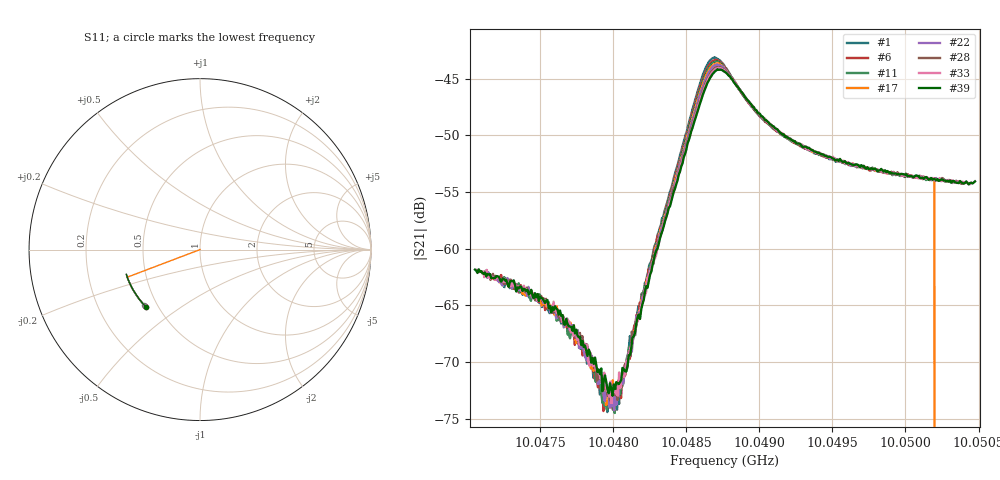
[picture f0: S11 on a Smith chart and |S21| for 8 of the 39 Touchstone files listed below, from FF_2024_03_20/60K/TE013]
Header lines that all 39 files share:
#  HZ  S  RI  R  50.00
! Rohde & Schwarz Vector Network Analyzer
! Rohde-Schwarz,ZNB20-2Port,1311601062101988,3.16
! freq[Hz]  re:S11  im:S11  re:S21  im:S21  re:S12  im:S12  re:S22  im:S22
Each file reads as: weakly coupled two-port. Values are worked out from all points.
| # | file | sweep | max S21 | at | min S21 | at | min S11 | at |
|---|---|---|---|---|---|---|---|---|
| 1 | 160_3_58.0005_58.9726982_40394.016_433.0338485240936_.s2p | 10.04725 GHz to 10.05019 GHz | -43.09 dB | 10.04869 GHz | -74.4 dB | 10.04796 GHz | -6.8 dB | 10.05015 GHz |
| 2 | 161_3_58.0003_58.9736977_40614.535_435.45263624191284_.s2p | 10.04726 GHz to 10.05019 GHz | -43.15 dB | 10.04869 GHz | -75.1 dB | 10.04798 GHz | -6.8 dB | 10.05018 GHz |
| 3 | 162_3_58.0001_58.9745522_40865.566_437.864235162735_.s2p | 10.04725 GHz to 10.0502 GHz | -43.18 dB | 10.0487 GHz | -75.1 dB | 10.04799 GHz | -6.8 dB | 10.05018 GHz |
| 4 | 163_3_58.0_58.9751167_41677.715_445.96759557724_.s2p | 10.04723 GHz to 10.05022 GHz | -43.23 dB | 10.0487 GHz | -74.2 dB | 10.048 GHz | -6.8 dB | 10.05022 GHz |
| 5 | 164_3_58.0003_58.9757538_41929.273_448.38521552085876_.s2p | 10.04723 GHz to 10.05022 GHz | -43.28 dB | 10.04869 GHz | -75.4 dB | 10.04798 GHz | -6.8 dB | 10.05018 GHz |
| 6 | 165_3_58.0004_58.9755745_42180.348_450.797146320343_.s2p | 10.04723 GHz to 10.05024 GHz | -43.32 dB | 10.04871 GHz | -74.3 dB | 10.04793 GHz | -6.8 dB | 10.05022 GHz |
| 7 | 166_3_58.0006_58.97649_42411.07_453.2121276855469_.s2p | 10.04721 GHz to 10.05025 GHz | -43.33 dB | 10.0487 GHz | -74.2 dB | 10.04795 GHz | -6.8 dB | 10.05025 GHz |
| 8 | 167_3_58.001_58.9782181_42651.273_455.621639251709_.s2p | 10.04721 GHz to 10.05025 GHz | -43.38 dB | 10.0487 GHz | -74.2 dB | 10.048 GHz | -6.8 dB | 10.0502 GHz |
| 9 | 168_3_58.0003_58.9773026_42892.465_458.01894521713257_.s2p | 10.0472 GHz to 10.05026 GHz | -43.42 dB | 10.04872 GHz | -74.9 dB | 10.04798 GHz | -6.8 dB | 10.05025 GHz |
| 10 | 169_3_58.0008_58.9789467_43133.215_460.458447933197_.s2p | 10.04719 GHz to 10.05028 GHz | -43.41 dB | 10.0487 GHz | -74.5 dB | 10.04797 GHz | -6.8 dB | 10.05022 GHz |
| 11 | 170_3_58.0001_58.9790306_43384.051_462.85520815849304_.s2p | 10.04721 GHz to 10.05026 GHz | -43.45 dB | 10.0487 GHz | -74.5 dB | 10.04801 GHz | -6.8 dB | 10.05024 GHz |
| 12 | 171_3_58.0001_58.977581_43634.465_465.26764273643494_.s2p | 10.0472 GHz to 10.05027 GHz | -43.47 dB | 10.0487 GHz | -75.2 dB | 10.04794 GHz | -6.8 dB | 10.05023 GHz |
| 13 | 172_3_58.001_58.9788513_43855.094_467.68919467926025_.s2p | 10.04719 GHz to 10.05028 GHz | -43.48 dB | 10.04871 GHz | -74.7 dB | 10.048 GHz | -6.8 dB | 10.05023 GHz |
| 14 | 174_3_58.0_58.9823952_44346.965_472.5191524028778_.s2p | 10.04718 GHz to 10.0503 GHz | -43.54 dB | 10.04871 GHz | -74.9 dB | 10.04799 GHz | -6.8 dB | 10.05023 GHz |
| 15 | 175_3_58.0004_58.9827576_44597.859_474.9754436016083_.s2p | 10.04718 GHz to 10.0503 GHz | -43.56 dB | 10.04871 GHz | -74.2 dB | 10.048 GHz | -6.8 dB | 10.05025 GHz |
| 16 | 176_3_57.9997_58.9818535_44838.371_477.40245366096497_.s2p | 10.04718 GHz to 10.0503 GHz | -43.60 dB | 10.04871 GHz | -74.2 dB | 10.04797 GHz | -6.8 dB | 10.0503 GHz |
| 17 | 177_3_58.0003_58.9830322_45059.137_479.80018854141235_.s2p | 10.04717 GHz to 10.05031 GHz | -43.64 dB | 10.04871 GHz | -73.8 dB | 10.04795 GHz | -6.8 dB | 10.0502 GHz |
| 18 | 178_3_58.0001_58.9838524_45320.031_482.21125841140747_.s2p | 10.04715 GHz to 10.05034 GHz | -43.66 dB | 10.04871 GHz | -73.8 dB | 10.04796 GHz | -6.8 dB | 10.05027 GHz |
| 19 | 179_3_58.001_58.9853096_45550.891_484.6239221096039_.s2p | 10.04716 GHz to 10.05032 GHz | -43.65 dB | 10.04871 GHz | -74.1 dB | 10.04795 GHz | -6.8 dB | 10.05031 GHz |
| 20 | 180_3_58.0004_58.9844894_45801.27_487.03645634651184_.s2p | 10.04716 GHz to 10.05033 GHz | -43.66 dB | 10.04871 GHz | -74.3 dB | 10.04801 GHz | -6.8 dB | 10.05031 GHz |
| 21 | 181_3_58.0_58.9863968_46042.09_489.4576573371887_.s2p | 10.04716 GHz to 10.05033 GHz | -43.70 dB | 10.04871 GHz | -74.6 dB | 10.048 GHz | -6.8 dB | 10.05029 GHz |
| 22 | 182_3_57.9999_58.9857597_46293.586_491.90146017074585_.s2p | 10.04714 GHz to 10.05035 GHz | -43.73 dB | 10.04871 GHz | -74.3 dB | 10.04801 GHz | -6.8 dB | 10.05035 GHz |
| 23 | 183_3_57.9994_58.9858513_46524.371_494.3015329837799_.s2p | 10.04713 GHz to 10.05036 GHz | -43.77 dB | 10.04872 GHz | -74.7 dB | 10.04799 GHz | -6.8 dB | 10.05033 GHz |
| 24 | 184_3_57.999_58.9873085_46764.906_496.7470235824585_.s2p | 10.04714 GHz to 10.05035 GHz | -43.80 dB | 10.04871 GHz | -74.6 dB | 10.04802 GHz | -6.8 dB | 10.05034 GHz |
| 25 | 185_3_58.0005_58.9925308_47617.758_505.11269307136536_.s2p | 10.04712 GHz to 10.05038 GHz | -43.87 dB | 10.04871 GHz | -73.5 dB | 10.048 GHz | -6.8 dB | 10.05038 GHz |
| 26 | 186_3_58.0006_58.9907112_47838.398_507.52507877349854_.s2p | 10.0471 GHz to 10.0504 GHz | -43.89 dB | 10.04871 GHz | -74.3 dB | 10.04802 GHz | -6.8 dB | 10.05034 GHz |
| 27 | 187_3_58.0003_58.9941673_48099.211_509.93764543533325_.s2p | 10.04709 GHz to 10.05042 GHz | -43.91 dB | 10.04871 GHz | -73.6 dB | 10.048 GHz | -6.8 dB | 10.0504 GHz |
| 28 | 188_3_58.0003_58.9952621_48319.867_512.3496487140656_.s2p | 10.0471 GHz to 10.05041 GHz | -43.95 dB | 10.04872 GHz | -73.4 dB | 10.04798 GHz | -6.8 dB | 10.05041 GHz |
| 29 | 189_3_58.0003_58.9949837_48590.641_514.7565593719482_.s2p | 10.04709 GHz to 10.05042 GHz | -43.98 dB | 10.04871 GHz | -73.6 dB | 10.04802 GHz | -6.8 dB | 10.05039 GHz |
| 30 | 190_3_58.0003_58.9954376_48811.309_517.1818826198578_.s2p | 10.04707 GHz to 10.05045 GHz | -43.94 dB | 10.04872 GHz | -73.7 dB | 10.04803 GHz | -6.8 dB | 10.05041 GHz |
| 31 | 191_3_58.0005_58.9931679_49072.145_519.7717733383179_.s2p | 10.0471 GHz to 10.05041 GHz | -44.01 dB | 10.04872 GHz | -73.6 dB | 10.04799 GHz | -6.8 dB | 10.0504 GHz |
| 32 | 192_3_58.0007_58.9963455_49322.91_522.202924489975_.s2p | 10.04708 GHz to 10.05044 GHz | -44.05 dB | 10.04872 GHz | -73.6 dB | 10.04799 GHz | -6.8 dB | 10.05044 GHz |
| 33 | 193_3_57.9999_58.9981689_49563.875_524.7243161201477_.s2p | 10.04707 GHz to 10.05045 GHz | -44.04 dB | 10.04872 GHz | -73.7 dB | 10.04799 GHz | -6.8 dB | 10.05045 GHz |
| 34 | 194_3_58.0002_58.9975319_49834.789_527.1392679214478_.s2p | 10.04708 GHz to 10.05044 GHz | -44.07 dB | 10.04872 GHz | -73.3 dB | 10.04796 GHz | -6.8 dB | 10.05042 GHz |
| 35 | 195_3_58.0001_58.9975319_50065.313_529.5606107711792_.s2p | 10.04706 GHz to 10.05046 GHz | -44.09 dB | 10.04872 GHz | -74.1 dB | 10.048 GHz | -6.9 dB | 10.05044 GHz |
| 36 | 196_3_57.9996_59.0004425_50316.23_531.9831509590149_.s2p | 10.04707 GHz to 10.05046 GHz | -44.10 dB | 10.04872 GHz | -73.3 dB | 10.04796 GHz | -6.9 dB | 10.05043 GHz |
| 37 | 197_3_57.9999_58.9991684_50546.703_534.4065778255463_.s2p | 10.04707 GHz to 10.05046 GHz | -44.14 dB | 10.04873 GHz | -73.4 dB | 10.04797 GHz | -6.9 dB | 10.05046 GHz |
| 38 | 198_3_58.0004_58.9991684_50798.063_536.8261280059814_.s2p | 10.04703 GHz to 10.0505 GHz | -44.13 dB | 10.04873 GHz | -73.3 dB | 10.04797 GHz | -6.9 dB | 10.05049 GHz |
| 39 | 199_3_57.9998_59.0038147_51039.027_539.2417817115784_.s2p | 10.04705 GHz to 10.05048 GHz | -44.16 dB | 10.04871 GHz | -73.0 dB | 10.04799 GHz | -6.9 dB | 10.05045 GHz |
